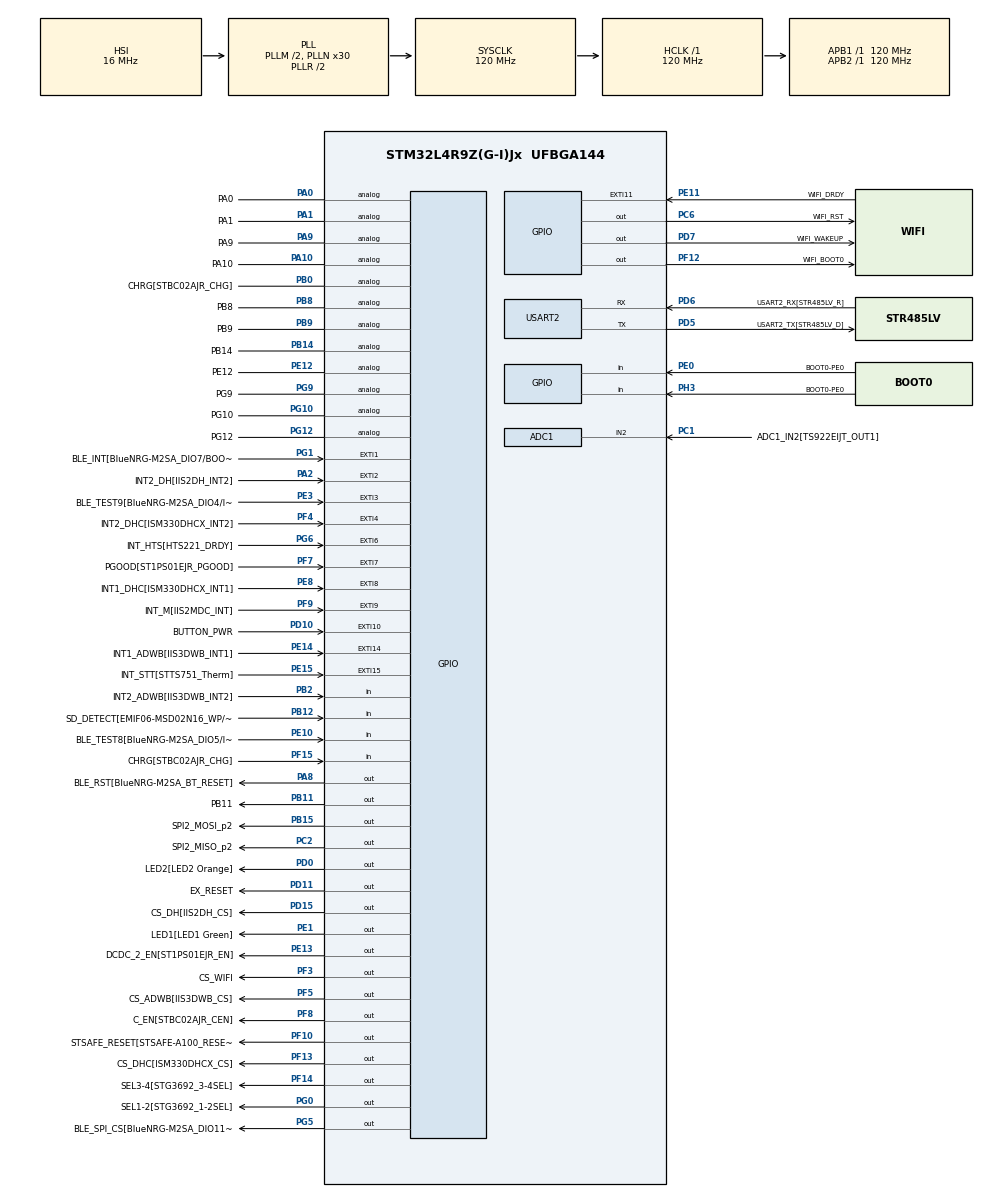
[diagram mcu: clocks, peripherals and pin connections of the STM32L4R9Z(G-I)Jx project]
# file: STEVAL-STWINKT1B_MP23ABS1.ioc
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ADC1.Channel-0\#ChannelRegularConversion=ADC_CHANNEL_2
ADC1.NbrOfConversionFlag=1
ADC1.OffsetNumber-0\#ChannelRegularConversion=ADC_OFFSET_NONE
ADC1.Overrun=ADC_OVR_DATA_OVERWRITTEN
ADC1.Rank-0\#ChannelRegularConversion=1
ADC1.SamplingTime-0\#ChannelRegularConversion=ADC_SAMPLETIME_2CYCLES_5
ADC1.master=1
Mcu.Family=STM32L4
Mcu.Name=STM32L4R9Z(G-I)Jx
Mcu.Package=UFBGA144
NVIC.PriorityGroup=NVIC_PRIORITYGROUP_4
PA0.GPIO_Label=PA0
PA0.Signal=GPIO_Analog
PA1.GPIO_Label=PA1
PA1.Signal=GPIO_Analog
PA10.GPIO_Label=PA10
PA10.Signal=GPIO_Analog
PA11.GPIO_Label=OTG_FS_DM[USBLC6-2P6_D2]
PA11.Signal=USB_OTG_FS_DM
PA12.GPIO_Label=OTG_FS_DP[USBLC6-2P6_D1]
PA12.Signal=USB_OTG_FS_DP
PA13\ (JTMS/SWDIO).GPIO_Label=SWDIO
PA13\ (JTMS/SWDIO).Signal=SYS_JTMS-SWDIO
PA14\ (JTCK/SWCLK).GPIO_Label=SWDCLK
PA14\ (JTCK/SWCLK).Signal=SYS_JTCK-SWCLK
PA15\ (JTDI).GPIO_Label=EX_PWM
PA15\ (JTDI).Signal=S_TIM2_CH1
PA2.GPIO_Label=INT2_DH[IIS2DH_INT2]
PA2.Signal=GPXTI2
PA4.GPIO_Label=DAC1_OUT1
PA4.Signal=COMP_DAC11_group
PA5.GPIO_Label=EX_ADC
PA5.Signal=ADCx_IN10
PA8.GPIO_Label=BLE_RST[BlueNRG-M2SA_BT_RESET]
PA8.Signal=GPIO_Output
PA9.GPIO_Label=PA9
PA9.Signal=GPIO_Analog
PB0.GPIO_Label=CHRG[STBC02AJR_CHG]
PB0.Signal=GPIO_Analog
PB1.GPIO_Label=USART3_RTS[STG3692_3S2]
PB1.Signal=USART3_RTS
PB10.GPIO_Label=DFSDM1_D7
PB10.GPIO_PuPd=GPIO_PULLDOWN
PB10.GPIO_Speed=GPIO_SPEED_FREQ_VERY_HIGH
PB10.Signal=S_DATAIN7DFSDM1
PB11.GPIO_Label=PB11
PB11.Signal=GPIO_Output
PB12.GPIO_Label=SD_DETECT[EMIF06-MSD02N16_WP/CD]
PB12.Signal=GPIO_Input
PB13.GPIO_Label=USART3_CTS
PB13.Signal=USART3_CTS
PB14.GPIO_Label=PB14
PB14.Signal=GPIO_Analog
PB15.GPIO_Label=SPI2_MOSI_p2
PB15.Signal=GPIO_Output
PB2.GPIO_Label=INT2_ADWB[IIS3DWB_INT2]
PB2.Signal=GPIO_Input
PB3\ (JTDO/TRACESWO).GPIO_Label=SPI3_CLK[SENSORS_SCL]
PB3\ (JTDO/TRACESWO).Signal=SPI3_SCK
PB4\ (NJTRST).GPIO_Label=SPI3_MISO[SENSORS_SDO]
PB4\ (NJTRST).Signal=SPI3_MISO
PB5.GPIO_Label=SPI3_MOSI[SENSORS_SDA]
PB5.Signal=SPI3_MOSI
PB6.GPIO_Label=DFSDM1_DATIN5[IMP34DT05_DOUT]
PB6.GPIO_PuPd=GPIO_PULLDOWN
PB6.GPIO_Speed=GPIO_SPEED_FREQ_VERY_HIGH
PB6.Signal=S_DATAIN5DFSDM1
PB8.GPIO_Label=PB8
PB8.Signal=GPIO_Analog
PB9.GPIO_Label=PB9
PB9.Signal=GPIO_Analog
PC0.GPIO_Label=ADC1_IN1[TS922EIJT_OUT2]
PC0.Signal=ADCx_IN1
PC1.GPIO_Label=ADC1_IN2[TS922EIJT_OUT1]
PC1.Signal=ADCx_IN2
PC10.GPIO_Label=SDMMC_D2[EMIF06-MSD02N16_DAT2_In]
PC10.Signal=SDMMC1_D2
PC11.GPIO_Label=SDMMC_D3[EMIF06-MSD02N16_DAT3_In]
PC11.Signal=SDMMC1_D3
PC12.GPIO_Label=SDMMC_CK[EMIF06-MSD02N16_CLK_In]
PC12.Signal=SDMMC1_CK
PC13.GPIO_Label=RTC_TAMP1
PC13.Signal=RTC_TAMP1
PC14-OSC32_IN\ (PC14).GPIO_Label=OSC32_IN
PC14-OSC32_IN\ (PC14).Signal=RCC_OSC32_IN
PC15-OSC32_OUT\ (PC15).GPIO_Label=OSC32_OUT
PC15-OSC32_OUT\ (PC15).Signal=RCC_OSC32_OUT
PC2.GPIO_Label=SPI2_MISO_p2
PC2.Signal=GPIO_Output
PC3.GPIO_Label=SPI2_MOSI[BlueNRG-M2SA_DIO3/SPI_MOSI]
PC3.Signal=SPI2_MOSI
PC4.GPIO_Label=uC_ADC_BATT[STBC02AJR_BATMS]
PC4.Signal=ADCx_IN13
PC5.GPIO_Label=PC5/WKUP5
PC5.Signal=SYS_WKUP5
PC6.GPIO_Label=WIFI_RST
PC6.Signal=GPIO_Output
PC8.GPIO_Label=SDMMC_D0[EMIF06-MSD02N16_DAT0_In]
PC8.Signal=SDMMC1_D0
PC9.GPIO_Label=SDMMC_D1[EMIF06-MSD02N16_DAT1_In]
PC9.Signal=SDMMC1_D1
PD0.GPIO_Label=LED2[LED2 Orange]
PD0.Signal=GPIO_Output
PD1.GPIO_Label=SPI2_CLK[BlueNRG-M2SA_DIO0/SPI_CLK]
PD1.Signal=SPI2_SCK
PD10.GPIO_Label=BUTTON_PWR
PD10.Signal=GPXTI10
PD11.GPIO_Label=EX_RESET 
PD11.Signal=GPIO_Output
PD12.GPIO_Label=I2C4_SCL
PD12.Signal=I2C4_SCL
PD13.GPIO_Label=I2C4_SDA
PD13.Signal=I2C4_SDA
PD15.GPIO_Label=CS_DH[IIS2DH_CS]
PD15.Signal=GPIO_Output
PD2.GPIO_Label=SDMMC_CMD[EMIF06-MSD02N16_CMD_In]
PD2.Signal=SDMMC1_CMD
PD3.GPIO_Label=SPI2_MISO[BlueNRG-M2SA_DIO2/SPI_MISO]
PD3.Signal=SPI2_MISO
PD4.GPIO_Label=USART2_RTS[STR485LV_DE]
PD4.Signal=USART2_RTS
PD5.GPIO_Label=USART2_TX[STR485LV_D]
PD5.Mode=Asynchronous
PD5.Signal=USART2_TX
PD6.GPIO_Label=USART2_RX[STR485LV_R]
PD6.Mode=Asynchronous
PD6.Signal=USART2_RX
PD7.GPIO_Label=WIFI_WAKEUP
PD7.Signal=GPIO_Output
PD8.GPIO_Label=USART3_TX[STG3692_1S1]
PD8.Signal=USART3_TX
PD9.GPIO_Label=USART3_RX[STG3692_2S1]
PD9.Signal=USART3_RX
PE0.GPIO_Label=BOOT0-PE0
PE0.Signal=GPIO_Input
PE1.GPIO_Label=LED1[LED1 Green]
PE1.Signal=GPIO_Output
PE10.GPIO_Label=BLE_TEST8[BlueNRG-M2SA_DIO5/I2C_SDA]
PE10.Signal=GPIO_Input
PE11.GPIO_Label=WIFI_DRDY
PE11.Signal=GPXTI11
PE12.GPIO_Label=PE12
PE12.Signal=GPIO_Analog
PE13.GPIO_Label=DCDC_2_EN[ST1PS01EJR_EN]
PE13.Signal=GPIO_Output
PE14.GPIO_Label=INT1_ADWB[IIS3DWB_INT1]
PE14.Signal=GPXTI14
PE15.GPIO_Label=INT_STT[STTS751_Therm]
PE15.Signal=GPXTI15
PE2.GPIO_Label=SAI1_MCLK_A
PE2.Signal=SAI1_MCLK_A
PE3.GPIO_Label=BLE_TEST9[BlueNRG-M2SA_DIO4/I2C_CLK]
PE3.Signal=GPXTI3
PE4.GPIO_Label=SAI1_FS_A/DFSDM_D3
PE4.Signal=SAI1_FS_A
PE5.GPIO_Label=SAI1_SCK_A
PE5.Signal=SAI1_SCK_A
PE6.GPIO_Label=SAI1_SD_A
PE6.Signal=SAI1_SD_A
PE7.GPIO_Label=SAI1_SD_B
PE7.Signal=SAI1_SD_B
PE8.GPIO_Label=INT1_DHC[ISM330DHCX_INT1]
PE8.Signal=GPXTI8
PE9.GPIO_Label=DFSDM1_CKOUT[IMP34DT05_CLK]
PE9.GPIO_PuPd=GPIO_PULLDOWN
PE9.GPIO_Speed=GPIO_SPEED_FREQ_VERY_HIGH
PE9.Signal=S_CKOUTDFSDM1
PF0.GPIO_Label=I2C2_SDA[SENSORS_SDA]
PF0.Signal=I2C2_SDA
PF1.GPIO_Label=I2C2_SDA[SENSORS_SCL]
PF1.Signal=I2C2_SCL
PF10.GPIO_Label=STSAFE_RESET[STSAFE-A100_RESET]
PF10.Signal=GPIO_Output
PF12.GPIO_Label=WIFI_BOOT0
PF12.Signal=GPIO_Output
PF13.GPIO_Label=CS_DHC[ISM330DHCX_CS]
PF13.Signal=GPIO_Output
PF14.GPIO_Label=SEL3-4[STG3692_3-4SEL]
PF14.Signal=GPIO_Output
PF15.GPIO_Label=CHRG[STBC02AJR_CHG]
PF15.Signal=GPIO_Input
PF2.GPIO_Label=I2C2_SMBA[STTS751_EV]
PF2.Signal=I2C2_SMBA
PF3.GPIO_Label=CS_WIFI
PF3.Signal=GPIO_Output
PF4.GPIO_Label=INT2_DHC[ISM330DHCX_INT2]
PF4.Signal=GPXTI4
PF5.GPIO_Label=CS_ADWB[IIS3DWB_CS]
PF5.Signal=GPIO_Output
PF6.GPIO_Label=SW_SEL[STBC02AJR_SW_SEL]
PF6.GPIO_Speed=GPIO_SPEED_FREQ_HIGH
PF6.Signal=S_TIM5_CH1
PF7.GPIO_Label=PGOOD[ST1PS01EJR_PGOOD]
PF7.Signal=GPXTI7
PF8.GPIO_Label=C_EN[STBC02AJR_CEN]
PF8.Signal=GPIO_Output
PF9.GPIO_Label=INT_M[IIS2MDC_INT]
PF9.Signal=GPXTI9
PG0.GPIO_Label=SEL1-2[STG3692_1-2SEL]
PG0.Signal=GPIO_Output
PG1.GPIO_Label=BLE_INT[BlueNRG-M2SA_DIO7/BOOT/UART_CTS]
PG1.Signal=GPXTI1
PG10.GPIO_Label=PG10
PG10.Signal=GPIO_Analog
PG12.GPIO_Label=PG12
PG12.Signal=GPIO_Analog
PG2.GPIO_Label=SPI1_CLK
PG2.Signal=SPI1_SCK
PG3.GPIO_Label=SPI1_MISO
PG3.Signal=SPI1_MISO
PG4.GPIO_Label=SPI1_MOSI
PG4.Signal=SPI1_MOSI
PG5.GPIO_Label=BLE_SPI_CS[BlueNRG-M2SA_DIO11/UART_RXD]
PG5.Signal=GPIO_Output
PG6.GPIO_Label=INT_HTS[HTS221_DRDY]
PG6.Signal=GPXTI6
PG7.GPIO_Label=I2C3_SCL[STSAFE-A110_SCL]
PG7.Signal=I2C3_SCL
PG8.GPIO_Label=I2C3_SDA[STSAFE-A110_SDA]
PG8.Signal=I2C3_SDA
PG9.GPIO_Label=PG9
PG9.Signal=GPIO_Analog
PH0-OSC_IN\ (PH0).GPIO_Label=OSC_IN
PH0-OSC_IN\ (PH0).Signal=RCC_OSC_IN
PH1-OSC_OUT\ (PH1).GPIO_Label=OSC_OUT
PH1-OSC_OUT\ (PH1).Signal=RCC_OSC_OUT
PH3-BOOT0.GPIO_Label=BOOT0-PE0
PH3-BOOT0.Signal=GPIO_Input
ProjectManager.HeapSize=0x200
ProjectManager.StackSize=0x400
ProjectManager.TargetToolchain=Makefile
RCC.ADCCLockSelection=RCC_ADCCLKSOURCE_SYSCLK
RCC.ADCFreq_Value=120000000
RCC.AHBFreq_Value=120000000
RCC.APB1Freq_Value=120000000
RCC.APB1TimFreq_Value=120000000
RCC.APB2Freq_Value=120000000
RCC.APB2TimFreq_Value=120000000
RCC.CK48CLockSelection=RCC_USBCLKSOURCE_HSI48
RCC.CortexFreq_Value=120000000
RCC.DSITX_Div=1
RCC.HCLKFreq_Value=120000000
RCC.HSE_VALUE=16000000
RCC.HSI48_VALUE=48000000
RCC.HSI_VALUE=16000000
RCC.LSE_VALUE=32768
RCC.MSI_VALUE=4000000
RCC.PLLDSIODF=DSI_PLL_OUT_DIV2
RCC.PLLM1=2
RCC.PLLM2=5
RCC.PLLM3=2
RCC.PLLN=30
RCC.PLLSAI1N=96
RCC.PLLSAI1P=RCC_PLLP_DIV25
RCC.PLLSAI1Q=RCC_PLLQ_DIV4
RCC.PLLSAI1R=RCC_PLLR_DIV4
RCC.PLLSourceVirtual=RCC_PLLSOURCE_HSI
RCC.RTCClockSelection=RCC_RTCCLKSOURCE_LSE
RCC.SDMMCClockSelection=RCC_SDIOCLKSOURCE_CLK48
RCC.SYSCLKFreq_VALUE=120000000
RCC.SYSCLKSource=RCC_SYSCLKSOURCE_PLLCLK
RCC.USBFreq_Value=48000000
RCC.VCOOutputFreq_Value=240000000
SH.ADCx_IN1.0=ADC1_IN1
SH.ADCx_IN10.0=ADC1_IN10
SH.ADCx_IN13.0=ADC1_IN13
SH.ADCx_IN2.0=ADC1_IN2,IN2-Single-Ended
SH.COMP_DAC11_group.0=DAC1_OUT1
SH.S_CKOUTDFSDM1.0=DFSDM1_CKOUT
SH.S_DATAIN5DFSDM1.0=DFSDM1_DATIN5
SH.S_DATAIN7DFSDM1.0=DFSDM1_DATIN7
SH.S_TIM2_CH1.0=TIM2_CH1
SH.S_TIM5_CH1.0=TIM5_CH1
TIM2.Prescaler=120 - 1
USART2.VirtualMode-Asynchronous=VM_ASYNC
VP_TIM2_VS_ClockSourceINT.Mode=Internal
board=STEVAL-STWINKT1B

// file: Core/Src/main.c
/* USER CODE BEGIN Header */
/**
  ******************************************************************************
  * @file           : main.c
  * @brief          : Main program body
  ******************************************************************************
  * @attention
  *
  * Copyright (c) 2022 STMicroelectronics.
  * All rights reserved.
  *
  * This software is licensed under terms that can be found in the LICENSE file
  * in the root directory of this software component.
  * If no LICENSE file comes with this software, it is provided AS-IS.
  *
  ******************************************************************************
  */
/* USER CODE END Header */
#include "main.h"

/* USER CODE BEGIN Includes */
#include <string.h>
#include <stdio.h>
#include "cycle_dwt.h"
#include "NanoEdgeAI.h"

/* USER CODE END Includes */

/* USER CODE BEGIN PD */
/************************************************************ NEAI algorithm defines begin ************************************************************/
/************************************************************ Global settings part ************************************************************/
#ifndef SAMPLES
  #define SAMPLES           4096    /* Should be between 16 & 4096 */
#endif
#ifndef MICROPHONE_ODR
  #define MICROPHONE_ODR    44100   /* Should be between 1 & 100 kHz, 44100 Hz is WAV audio format standard frequency */
#endif
/************************************************************ Datalogger / NEAI mode part ************************************************************/
#ifndef NEAI_MODE
  #define NEAI_MODE         0       /* 0: Datalogger mode, 1: NEAI functions mode */
#endif
#if (NEAI_MODE == 1)
  #ifndef NEAI_LEARN_NB
    #define NEAI_LEARN_NB   100     /* Number of buffers to be learn by the NEAI library */
  #endif
#endif
/************************************************************ NEAI algorithm defines end ************************************************************/
/* USER CODE END PD */

ADC_HandleTypeDef hadc1;

TIM_HandleTypeDef htim2;

UART_HandleTypeDef huart2;

/* USER CODE BEGIN PV */
uint8_t neai_similarity = 0, neai_state = 0;
uint16_t neai_cnt = 0;
float odr_timer = 0.0, time_cycles = 0.0;
float neai_time = 0.0;
float neai_buffer[SAMPLES] = {0.0};

/* USER CODE END PV */

void SystemClock_Config(void);
static void MX_GPIO_Init(void);
static void MX_ADC1_Init(void);
static void MX_TIM2_Init(void);
static void MX_USART2_UART_Init(void);
/* USER CODE BEGIN PFP */
static void NEAI_Delay_us (uint32_t us);
static void get_microphone_data(void);

/* USER CODE END PFP */

int main(void)
{

  /* MCU Configuration--------------------------------------------------------*/

  /* Reset of all peripherals, Initializes the Flash interface and the Systick. */
  HAL_Init();

  /* Configure the system clock */
  SystemClock_Config();

  /* Initialize all configured peripherals */
  MX_GPIO_Init();
  MX_ADC1_Init();
  MX_TIM2_Init();
  MX_USART2_UART_Init();
  /* USER CODE BEGIN 2 */
  KIN1_InitCycleCounter();
  KIN1_EnableCycleCounter();

  /* Start ADC calibration before using it */
  HAL_ADCEx_Calibration_Start(&hadc1, ADC_SINGLE_ENDED);

  /* Get a dummy value to avoid bad value in the first buffer */
  HAL_ADC_Start(&hadc1);
  HAL_ADC_PollForConversion(&hadc1, 0);
  HAL_ADC_GetValue(&hadc1);
  HAL_Delay(100);

  /* Start our µs timer */
  HAL_TIM_Base_Start(&htim2);

  /* Get the time to wait between each samples in µs
   * We know that an ADC operation takes about 6 ms = 720 cycles
   * so we subtract it from the time to wait between each sample
   */
  odr_timer = 1000000.0 / MICROPHONE_ODR;
  odr_timer = (odr_timer >= 6) ? odr_timer - 6 : odr_timer;

  if (NEAI_MODE) {
    neai_state = neai_anomalydetection_init();
    printf("Initialize NEAI library. NEAI init return: %d.\n",  neai_state);
  }

  /* USER CODE END 2 */

  /* Infinite loop */
  /* USER CODE BEGIN WHILE */
  while (1)
  {
    get_microphone_data();
#if NEAI_MODE
    uint32_t cycles_cnt = 0;
    if (neai_cnt < NEAI_LEARN_NB) {
      neai_cnt++;
      KIN1_ResetCycleCounter();
      neai_state = neai_anomalydetection_learn(neai_buffer);
      cycles_cnt = KIN1_GetCycleCounter();
      neai_time = (cycles_cnt * 1000000.0) / HAL_RCC_GetSysClockFreq();
      printf("Learn: %d / %d. NEAI learn return: %d. Cycles counter: %ld = %.1f µs at %ld Hz.\n",
            neai_cnt, NEAI_LEARN_NB, neai_state, cycles_cnt, neai_time, HAL_RCC_GetSysClockFreq());
    }
    else {
      KIN1_ResetCycleCounter();
      neai_state = neai_anomalydetection_detect(neai_buffer, &neai_similarity);
      cycles_cnt = KIN1_GetCycleCounter();
      neai_time = (cycles_cnt * 1000000.0) / HAL_RCC_GetSysClockFreq();
      printf("Similarity: %d / 100. NEAI detect return: %d. Cycles counter: %ld = %.1f µs at %ld Hz.\n",
            neai_similarity, neai_state, cycles_cnt, neai_time, HAL_RCC_GetSysClockFreq());
    }
#else
    for (uint16_t i = 0; i < SAMPLES; i++) {
      printf("%.3f ", neai_buffer[i]);
    }
    printf("\n");
#endif
    /* Clean neai buffer */
    memset(neai_buffer, 0x00, SAMPLES * sizeof(float));
    /* USER CODE END WHILE */

  }
}

void SystemClock_Config(void)
{
  RCC_OscInitTypeDef RCC_OscInitStruct = {0};
  RCC_ClkInitTypeDef RCC_ClkInitStruct = {0};

  /** Configure the main internal regulator output voltage
  */
  if (HAL_PWREx_ControlVoltageScaling(PWR_REGULATOR_VOLTAGE_SCALE1_BOOST) != HAL_OK)
  {
    Error_Handler();
  }

  /** Initializes the RCC Oscillators according to the specified parameters
  * in the RCC_OscInitTypeDef structure.
  */
  RCC_OscInitStruct.OscillatorType = RCC_OSCILLATORTYPE_HSI;
  RCC_OscInitStruct.HSIState = RCC_HSI_ON;
  RCC_OscInitStruct.HSICalibrationValue = RCC_HSICALIBRATION_DEFAULT;
  RCC_OscInitStruct.PLL.PLLState = RCC_PLL_ON;
  RCC_OscInitStruct.PLL.PLLSource = RCC_PLLSOURCE_HSI;
  RCC_OscInitStruct.PLL.PLLM = 2;
  RCC_OscInitStruct.PLL.PLLN = 30;
  RCC_OscInitStruct.PLL.PLLP = RCC_PLLP_DIV2;
  RCC_OscInitStruct.PLL.PLLQ = RCC_PLLQ_DIV2;
  RCC_OscInitStruct.PLL.PLLR = RCC_PLLR_DIV2;
  if (HAL_RCC_OscConfig(&RCC_OscInitStruct) != HAL_OK)
  {
    Error_Handler();
  }

  /** Initializes the CPU, AHB and APB buses clocks
  */
  RCC_ClkInitStruct.ClockType = RCC_CLOCKTYPE_HCLK|RCC_CLOCKTYPE_SYSCLK
                              |RCC_CLOCKTYPE_PCLK1|RCC_CLOCKTYPE_PCLK2;
  RCC_ClkInitStruct.SYSCLKSource = RCC_SYSCLKSOURCE_PLLCLK;
  RCC_ClkInitStruct.AHBCLKDivider = RCC_SYSCLK_DIV1;
  RCC_ClkInitStruct.APB1CLKDivider = RCC_HCLK_DIV1;
  RCC_ClkInitStruct.APB2CLKDivider = RCC_HCLK_DIV1;

  if (HAL_RCC_ClockConfig(&RCC_ClkInitStruct, FLASH_LATENCY_5) != HAL_OK)
  {
    Error_Handler();
  }
}

static void MX_ADC1_Init(void)
{

  ADC_ChannelConfTypeDef sConfig = {0};

  /** Common config
  */
  hadc1.Instance = ADC1;
  hadc1.Init.ClockPrescaler = ADC_CLOCK_ASYNC_DIV2;
  hadc1.Init.Resolution = ADC_RESOLUTION_12B;
  hadc1.Init.DataAlign = ADC_DATAALIGN_RIGHT;
  hadc1.Init.ScanConvMode = ADC_SCAN_DISABLE;
  hadc1.Init.EOCSelection = ADC_EOC_SINGLE_CONV;
  hadc1.Init.LowPowerAutoWait = DISABLE;
  hadc1.Init.ContinuousConvMode = DISABLE;
  hadc1.Init.NbrOfConversion = 1;
  hadc1.Init.DiscontinuousConvMode = DISABLE;
  hadc1.Init.ExternalTrigConv = ADC_SOFTWARE_START;
  hadc1.Init.ExternalTrigConvEdge = ADC_EXTERNALTRIGCONVEDGE_NONE;
  hadc1.Init.DMAContinuousRequests = DISABLE;
  hadc1.Init.Overrun = ADC_OVR_DATA_OVERWRITTEN;
  hadc1.Init.OversamplingMode = DISABLE;
  if (HAL_ADC_Init(&hadc1) != HAL_OK)
  {
    Error_Handler();
  }

  /** Configure Regular Channel
  */
  sConfig.Channel = ADC_CHANNEL_2;
  sConfig.Rank = ADC_REGULAR_RANK_1;
  sConfig.SamplingTime = ADC_SAMPLETIME_2CYCLES_5;
  sConfig.SingleDiff = ADC_SINGLE_ENDED;
  sConfig.OffsetNumber = ADC_OFFSET_NONE;
  sConfig.Offset = 0;
  if (HAL_ADC_ConfigChannel(&hadc1, &sConfig) != HAL_OK)
  {
    Error_Handler();
  }

}

static void MX_TIM2_Init(void)
{

  TIM_ClockConfigTypeDef sClockSourceConfig = {0};
  TIM_MasterConfigTypeDef sMasterConfig = {0};

  htim2.Instance = TIM2;
  htim2.Init.Prescaler = 120 - 1;
  htim2.Init.CounterMode = TIM_COUNTERMODE_UP;
  htim2.Init.Period = 4294967295;
  htim2.Init.ClockDivision = TIM_CLOCKDIVISION_DIV1;
  htim2.Init.AutoReloadPreload = TIM_AUTORELOAD_PRELOAD_DISABLE;
  if (HAL_TIM_Base_Init(&htim2) != HAL_OK)
  {
    Error_Handler();
  }
  sClockSourceConfig.ClockSource = TIM_CLOCKSOURCE_INTERNAL;
  if (HAL_TIM_ConfigClockSource(&htim2, &sClockSourceConfig) != HAL_OK)
  {
    Error_Handler();
  }
  sMasterConfig.MasterOutputTrigger = TIM_TRGO_RESET;
  sMasterConfig.MasterSlaveMode = TIM_MASTERSLAVEMODE_DISABLE;
  if (HAL_TIMEx_MasterConfigSynchronization(&htim2, &sMasterConfig) != HAL_OK)
  {
    Error_Handler();
  }

}

static void MX_USART2_UART_Init(void)
{

  huart2.Instance = USART2;
  huart2.Init.BaudRate = 115200;
  huart2.Init.WordLength = UART_WORDLENGTH_8B;
  huart2.Init.StopBits = UART_STOPBITS_1;
  huart2.Init.Parity = UART_PARITY_NONE;
  huart2.Init.Mode = UART_MODE_TX_RX;
  huart2.Init.HwFlowCtl = UART_HWCONTROL_NONE;
  huart2.Init.OverSampling = UART_OVERSAMPLING_16;
  huart2.Init.OneBitSampling = UART_ONE_BIT_SAMPLE_DISABLE;
  huart2.Init.ClockPrescaler = UART_PRESCALER_DIV1;
  huart2.AdvancedInit.AdvFeatureInit = UART_ADVFEATURE_NO_INIT;
  if (HAL_UART_Init(&huart2) != HAL_OK)
  {
    Error_Handler();
  }
  if (HAL_UARTEx_SetTxFifoThreshold(&huart2, UART_TXFIFO_THRESHOLD_1_8) != HAL_OK)
  {
    Error_Handler();
  }
  if (HAL_UARTEx_SetRxFifoThreshold(&huart2, UART_RXFIFO_THRESHOLD_1_8) != HAL_OK)
  {
    Error_Handler();
  }
  if (HAL_UARTEx_DisableFifoMode(&huart2) != HAL_OK)
  {
    Error_Handler();
  }

}

static void MX_GPIO_Init(void)
{
  GPIO_InitTypeDef GPIO_InitStruct = {0};

  /* GPIO Ports Clock Enable */
  __HAL_RCC_GPIOE_CLK_ENABLE();
  __HAL_RCC_GPIOB_CLK_ENABLE();
  __HAL_RCC_GPIOH_CLK_ENABLE();
  __HAL_RCC_GPIOD_CLK_ENABLE();
  __HAL_RCC_GPIOC_CLK_ENABLE();
  __HAL_RCC_GPIOA_CLK_ENABLE();
  __HAL_RCC_GPIOG_CLK_ENABLE();
  HAL_PWREx_EnableVddIO2();
  __HAL_RCC_GPIOF_CLK_ENABLE();

  /*Configure GPIO pin Output Level */
  HAL_GPIO_WritePin(GPIOE, LED1_Pin|DCDC_2_EN_Pin, GPIO_PIN_RESET);

  /*Configure GPIO pin Output Level */
  HAL_GPIO_WritePin(GPIOD, LED2_Pin|WIFI_WAKEUP_Pin|CS_DH_Pin|EX_RESET_Pin, GPIO_PIN_RESET);

  /*Configure GPIO pin Output Level */
  HAL_GPIO_WritePin(BLE_RST_GPIO_Port, BLE_RST_Pin, GPIO_PIN_RESET);

  /*Configure GPIO pin Output Level */
  HAL_GPIO_WritePin(GPIOC, WIFI_RST_Pin|SPI2_MISO_p2_Pin, GPIO_PIN_RESET);

  /*Configure GPIO pin Output Level */
  HAL_GPIO_WritePin(GPIOF, CS_WIFI_Pin|C_EN_Pin|CS_ADWB_Pin|STSAFE_RESET_Pin
                          |WIFI_BOOT0_Pin|CS_DHC_Pin|SEL3_4_Pin, GPIO_PIN_RESET);

  /*Configure GPIO pin Output Level */
  HAL_GPIO_WritePin(GPIOG, BLE_SPI_CS_Pin|SEL1_2_Pin, GPIO_PIN_RESET);

  /*Configure GPIO pin Output Level */
  HAL_GPIO_WritePin(GPIOB, SPI2_MOSI_p2_Pin|PB11_Pin, GPIO_PIN_RESET);

  /*Configure GPIO pins : BOOT0_PE0_Pin BLE_TEST8_Pin */
  GPIO_InitStruct.Pin = BOOT0_PE0_Pin|BLE_TEST8_Pin;
  GPIO_InitStruct.Mode = GPIO_MODE_INPUT;
  GPIO_InitStruct.Pull = GPIO_NOPULL;
  HAL_GPIO_Init(GPIOE, &GPIO_InitStruct);

  /*Configure GPIO pins : PB9_Pin PB8_Pin PB14_Pin CHRGB0_Pin */
  GPIO_InitStruct.Pin = PB9_Pin|PB8_Pin|PB14_Pin|CHRGB0_Pin;
  GPIO_InitStruct.Mode = GPIO_MODE_ANALOG;
  GPIO_InitStruct.Pull = GPIO_NOPULL;
  HAL_GPIO_Init(GPIOB, &GPIO_InitStruct);

  /*Configure GPIO pin : BOOT0_PE0H3_Pin */
  GPIO_InitStruct.Pin = BOOT0_PE0H3_Pin;
  GPIO_InitStruct.Mode = GPIO_MODE_INPUT;
  GPIO_InitStruct.Pull = GPIO_NOPULL;
  HAL_GPIO_Init(BOOT0_PE0H3_GPIO_Port, &GPIO_InitStruct);

  /*Configure GPIO pins : SPI3_MISO_Pin SPI3_MOSI_Pin SPI3_CLK_Pin */
  GPIO_InitStruct.Pin = SPI3_MISO_Pin|SPI3_MOSI_Pin|SPI3_CLK_Pin;
  GPIO_InitStruct.Mode = GPIO_MODE_AF_PP;
  GPIO_InitStruct.Pull = GPIO_NOPULL;
  GPIO_InitStruct.Speed = GPIO_SPEED_FREQ_VERY_HIGH;
  GPIO_InitStruct.Alternate = GPIO_AF6_SPI3;
  HAL_GPIO_Init(GPIOB, &GPIO_InitStruct);

  /*Configure GPIO pins : SPI2_MISO_Pin SPI2_CLK_Pin */
  GPIO_InitStruct.Pin = SPI2_MISO_Pin|SPI2_CLK_Pin;
  GPIO_InitStruct.Mode = GPIO_MODE_AF_PP;
  GPIO_InitStruct.Pull = GPIO_NOPULL;
  GPIO_InitStruct.Speed = GPIO_SPEED_FREQ_VERY_HIGH;
  GPIO_InitStruct.Alternate = GPIO_AF5_SPI2;
  HAL_GPIO_Init(GPIOD, &GPIO_InitStruct);

  /*Configure GPIO pins : SDMMC_D3_Pin SDMMC_D2_Pin SDMMC_D1_Pin SDMMC_CK_Pin
                           SDMMC_D0_Pin */
  GPIO_InitStruct.Pin = SDMMC_D3_Pin|SDMMC_D2_Pin|SDMMC_D1_Pin|SDMMC_CK_Pin
                          |SDMMC_D0_Pin;
  GPIO_InitStruct.Mode = GPIO_MODE_AF_PP;
  GPIO_InitStruct.Pull = GPIO_NOPULL;
  GPIO_InitStruct.Speed = GPIO_SPEED_FREQ_VERY_HIGH;
  GPIO_InitStruct.Alternate = GPIO_AF12_SDMMC1;
  HAL_GPIO_Init(GPIOC, &GPIO_InitStruct);

  /*Configure GPIO pins : BLE_TEST9_Pin WIFI_DRDY_Pin INT1_DHC_Pin INT_STT_Pin
                           INT1_ADWB_Pin */
  GPIO_InitStruct.Pin = BLE_TEST9_Pin|WIFI_DRDY_Pin|INT1_DHC_Pin|INT_STT_Pin
                          |INT1_ADWB_Pin;
  GPIO_InitStruct.Mode = GPIO_MODE_IT_RISING;
  GPIO_InitStruct.Pull = GPIO_NOPULL;
  HAL_GPIO_Init(GPIOE, &GPIO_InitStruct);

  /*Configure GPIO pins : OTG_FS_DP_Pin OTG_FS_DM_Pin */
  GPIO_InitStruct.Pin = OTG_FS_DP_Pin|OTG_FS_DM_Pin;
  GPIO_InitStruct.Mode = GPIO_MODE_AF_PP;
  GPIO_InitStruct.Pull = GPIO_NOPULL;
  GPIO_InitStruct.Speed = GPIO_SPEED_FREQ_VERY_HIGH;
  GPIO_InitStruct.Alternate = GPIO_AF10_OTG_FS;
  HAL_GPIO_Init(GPIOA, &GPIO_InitStruct);

  /*Configure GPIO pins : SAI1_SCK_A_Pin SAI1_MCLK_A_Pin SAI1_FS_A_DFSDM_D3_Pin SAI1_SD_A_Pin
                           SAI1_SD_B_Pin */
  GPIO_InitStruct.Pin = SAI1_SCK_A_Pin|SAI1_MCLK_A_Pin|SAI1_FS_A_DFSDM_D3_Pin|SAI1_SD_A_Pin
                          |SAI1_SD_B_Pin;
  GPIO_InitStruct.Mode = GPIO_MODE_AF_PP;
  GPIO_InitStruct.Pull = GPIO_NOPULL;
  GPIO_InitStruct.Speed = GPIO_SPEED_FREQ_LOW;
  GPIO_InitStruct.Alternate = GPIO_AF13_SAI1;
  HAL_GPIO_Init(GPIOE, &GPIO_InitStruct);

  /*Configure GPIO pins : LED1_Pin DCDC_2_EN_Pin */
  GPIO_InitStruct.Pin = LED1_Pin|DCDC_2_EN_Pin;
  GPIO_InitStruct.Mode = GPIO_MODE_OUTPUT_PP;
  GPIO_InitStruct.Pull = GPIO_NOPULL;
  GPIO_InitStruct.Speed = GPIO_SPEED_FREQ_LOW;
  HAL_GPIO_Init(GPIOE, &GPIO_InitStruct);

  /*Configure GPIO pins : LED2_Pin WIFI_WAKEUP_Pin CS_DH_Pin EX_RESET_Pin */
  GPIO_InitStruct.Pin = LED2_Pin|WIFI_WAKEUP_Pin|CS_DH_Pin|EX_RESET_Pin;
  GPIO_InitStruct.Mode = GPIO_MODE_OUTPUT_PP;
  GPIO_InitStruct.Pull = GPIO_NOPULL;
  GPIO_InitStruct.Speed = GPIO_SPEED_FREQ_LOW;
  HAL_GPIO_Init(GPIOD, &GPIO_InitStruct);

  /*Configure GPIO pins : PA10_Pin PA9_Pin PA0_Pin DAC1_OUT1_Pin
                           PA1_Pin */
  GPIO_InitStruct.Pin = PA10_Pin|PA9_Pin|PA0_Pin|DAC1_OUT1_Pin
                          |PA1_Pin;
  GPIO_InitStruct.Mode = GPIO_MODE_ANALOG;
  GPIO_InitStruct.Pull = GPIO_NOPULL;
  HAL_GPIO_Init(GPIOA, &GPIO_InitStruct);

  /*Configure GPIO pins : DFSDM1_DATIN5_Pin DFSDM1_D7_Pin */
  GPIO_InitStruct.Pin = DFSDM1_DATIN5_Pin|DFSDM1_D7_Pin;
  GPIO_InitStruct.Mode = GPIO_MODE_AF_PP;
  GPIO_InitStruct.Pull = GPIO_PULLDOWN;
  GPIO_InitStruct.Speed = GPIO_SPEED_FREQ_VERY_HIGH;
  GPIO_InitStruct.Alternate = GPIO_AF6_DFSDM1;
  HAL_GPIO_Init(GPIOB, &GPIO_InitStruct);

  /*Configure GPIO pins : PG12_Pin PG10_Pin PG9_Pin */
  GPIO_InitStruct.Pin = PG12_Pin|PG10_Pin|PG9_Pin;
  GPIO_InitStruct.Mode = GPIO_MODE_ANALOG;
  GPIO_InitStruct.Pull = GPIO_NOPULL;
  HAL_GPIO_Init(GPIOG, &GPIO_InitStruct);

  /*Configure GPIO pin : SDMMC_CMD_Pin */
  GPIO_InitStruct.Pin = SDMMC_CMD_Pin;
  GPIO_InitStruct.Mode = GPIO_MODE_AF_PP;
  GPIO_InitStruct.Pull = GPIO_NOPULL;
  GPIO_InitStruct.Speed = GPIO_SPEED_FREQ_VERY_HIGH;
  GPIO_InitStruct.Alternate = GPIO_AF12_SDMMC1;
  HAL_GPIO_Init(SDMMC_CMD_GPIO_Port, &GPIO_InitStruct);

  /*Configure GPIO pin : BLE_RST_Pin */
  GPIO_InitStruct.Pin = BLE_RST_Pin;
  GPIO_InitStruct.Mode = GPIO_MODE_OUTPUT_PP;
  GPIO_InitStruct.Pull = GPIO_NOPULL;
  GPIO_InitStruct.Speed = GPIO_SPEED_FREQ_LOW;
  HAL_GPIO_Init(BLE_RST_GPIO_Port, &GPIO_InitStruct);

  /*Configure GPIO pins : WIFI_RST_Pin SPI2_MISO_p2_Pin */
  GPIO_InitStruct.Pin = WIFI_RST_Pin|SPI2_MISO_p2_Pin;
  GPIO_InitStruct.Mode = GPIO_MODE_OUTPUT_PP;
  GPIO_InitStruct.Pull = GPIO_NOPULL;
  GPIO_InitStruct.Speed = GPIO_SPEED_FREQ_LOW;
  HAL_GPIO_Init(GPIOC, &GPIO_InitStruct);

  /*Configure GPIO pins : I2C2_SMBA_Pin I2C2_SDA_Pin I2C2_SDAF0_Pin */
  GPIO_InitStruct.Pin = I2C2_SMBA_Pin|I2C2_SDA_Pin|I2C2_SDAF0_Pin;
  GPIO_InitStruct.Mode = GPIO_MODE_AF_OD;
  GPIO_InitStruct.Pull = GPIO_NOPULL;
  GPIO_InitStruct.Speed = GPIO_SPEED_FREQ_VERY_HIGH;
  GPIO_InitStruct.Alternate = GPIO_AF4_I2C2;
  HAL_GPIO_Init(GPIOF, &GPIO_InitStruct);

  /*Configure GPIO pins : CS_WIFI_Pin C_EN_Pin CS_ADWB_Pin STSAFE_RESET_Pin
                           WIFI_BOOT0_Pin CS_DHC_Pin SEL3_4_Pin */
  GPIO_InitStruct.Pin = CS_WIFI_Pin|C_EN_Pin|CS_ADWB_Pin|STSAFE_RESET_Pin
                          |WIFI_BOOT0_Pin|CS_DHC_Pin|SEL3_4_Pin;
  GPIO_InitStruct.Mode = GPIO_MODE_OUTPUT_PP;
  GPIO_InitStruct.Pull = GPIO_NOPULL;
  GPIO_InitStruct.Speed = GPIO_SPEED_FREQ_LOW;
  HAL_GPIO_Init(GPIOF, &GPIO_InitStruct);

  /*Configure GPIO pins : I2C3_SDA_Pin I2C3_SCL_Pin */
  GPIO_InitStruct.Pin = I2C3_SDA_Pin|I2C3_SCL_Pin;
  GPIO_InitStruct.Mode = GPIO_MODE_AF_OD;
  GPIO_InitStruct.Pull = GPIO_NOPULL;
  GPIO_InitStruct.Speed = GPIO_SPEED_FREQ_VERY_HIGH;
  GPIO_InitStruct.Alternate = GPIO_AF4_I2C3;
  HAL_GPIO_Init(GPIOG, &GPIO_InitStruct);

  /*Configure GPIO pin : SW_SEL_Pin */
  GPIO_InitStruct.Pin = SW_SEL_Pin;
  GPIO_InitStruct.Mode = GPIO_MODE_AF_PP;
  GPIO_InitStruct.Pull = GPIO_NOPULL;
  GPIO_InitStruct.Speed = GPIO_SPEED_FREQ_HIGH;
  GPIO_InitStruct.Alternate = GPIO_AF2_TIM5;
  HAL_GPIO_Init(SW_SEL_GPIO_Port, &GPIO_InitStruct);

  /*Configure GPIO pins : INT2_DHC_Pin PGOOD_Pin INT_M_Pin */
  GPIO_InitStruct.Pin = INT2_DHC_Pin|PGOOD_Pin|INT_M_Pin;
  GPIO_InitStruct.Mode = GPIO_MODE_IT_RISING;
  GPIO_InitStruct.Pull = GPIO_NOPULL;
  HAL_GPIO_Init(GPIOF, &GPIO_InitStruct);

  /*Configure GPIO pins : SPI1_MISO_Pin SPI1_MOSI_Pin SPI1_CLK_Pin */
  GPIO_InitStruct.Pin = SPI1_MISO_Pin|SPI1_MOSI_Pin|SPI1_CLK_Pin;
  GPIO_InitStruct.Mode = GPIO_MODE_AF_PP;
  GPIO_InitStruct.Pull = GPIO_NOPULL;
  GPIO_InitStruct.Speed = GPIO_SPEED_FREQ_VERY_HIGH;
  GPIO_InitStruct.Alternate = GPIO_AF5_SPI1;
  HAL_GPIO_Init(GPIOG, &GPIO_InitStruct);

  /*Configure GPIO pins : BLE_SPI_CS_Pin SEL1_2_Pin */
  GPIO_InitStruct.Pin = BLE_SPI_CS_Pin|SEL1_2_Pin;
  GPIO_InitStruct.Mode = GPIO_MODE_OUTPUT_PP;
  GPIO_InitStruct.Pull = GPIO_NOPULL;
  GPIO_InitStruct.Speed = GPIO_SPEED_FREQ_LOW;
  HAL_GPIO_Init(GPIOG, &GPIO_InitStruct);

  /*Configure GPIO pins : INT_HTS_Pin BLE_INT_Pin */
  GPIO_InitStruct.Pin = INT_HTS_Pin|BLE_INT_Pin;
  GPIO_InitStruct.Mode = GPIO_MODE_IT_RISING;
  GPIO_InitStruct.Pull = GPIO_NOPULL;
  HAL_GPIO_Init(GPIOG, &GPIO_InitStruct);

  /*Configure GPIO pins : I2C4_SCL_Pin I2C4_SDA_Pin */
  GPIO_InitStruct.Pin = I2C4_SCL_Pin|I2C4_SDA_Pin;
  GPIO_InitStruct.Mode = GPIO_MODE_AF_OD;
  GPIO_InitStruct.Pull = GPIO_NOPULL;
  GPIO_InitStruct.Speed = GPIO_SPEED_FREQ_VERY_HIGH;
  GPIO_InitStruct.Alternate = GPIO_AF4_I2C4;
  HAL_GPIO_Init(GPIOD, &GPIO_InitStruct);

  /*Configure GPIO pins : INT2_ADWB_Pin SD_DETECT_Pin */
  GPIO_InitStruct.Pin = INT2_ADWB_Pin|SD_DETECT_Pin;
  GPIO_InitStruct.Mode = GPIO_MODE_INPUT;
  GPIO_InitStruct.Pull = GPIO_NOPULL;
  HAL_GPIO_Init(GPIOB, &GPIO_InitStruct);

  /*Configure GPIO pin : CHRG_Pin */
  GPIO_InitStruct.Pin = CHRG_Pin;
  GPIO_InitStruct.Mode = GPIO_MODE_INPUT;
  GPIO_InitStruct.Pull = GPIO_NOPULL;
  HAL_GPIO_Init(CHRG_GPIO_Port, &GPIO_InitStruct);

  /*Configure GPIO pin : BUTTON_PWR_Pin */
  GPIO_InitStruct.Pin = BUTTON_PWR_Pin;
  GPIO_InitStruct.Mode = GPIO_MODE_IT_RISING;
  GPIO_InitStruct.Pull = GPIO_NOPULL;
  HAL_GPIO_Init(BUTTON_PWR_GPIO_Port, &GPIO_InitStruct);

  /*Configure GPIO pins : USART3_RX_Pin USART3_TX_Pin */
  GPIO_InitStruct.Pin = USART3_RX_Pin|USART3_TX_Pin;
  GPIO_InitStruct.Mode = GPIO_MODE_AF_PP;
  GPIO_InitStruct.Pull = GPIO_NOPULL;
  GPIO_InitStruct.Speed = GPIO_SPEED_FREQ_VERY_HIGH;
  GPIO_InitStruct.Alternate = GPIO_AF7_USART3;
  HAL_GPIO_Init(GPIOD, &GPIO_InitStruct);

  /*Configure GPIO pin : SPI2_MOSI_Pin */
  GPIO_InitStruct.Pin = SPI2_MOSI_Pin;
  GPIO_InitStruct.Mode = GPIO_MODE_AF_PP;
  GPIO_InitStruct.Pull = GPIO_NOPULL;
  GPIO_InitStruct.Speed = GPIO_SPEED_FREQ_VERY_HIGH;
  GPIO_InitStruct.Alternate = GPIO_AF5_SPI2;
  HAL_GPIO_Init(SPI2_MOSI_GPIO_Port, &GPIO_InitStruct);

  /*Configure GPIO pins : USART3_RTS_Pin USART3_CTS_Pin */
  GPIO_InitStruct.Pin = USART3_RTS_Pin|USART3_CTS_Pin;
  GPIO_InitStruct.Mode = GPIO_MODE_AF_PP;
  GPIO_InitStruct.Pull = GPIO_NOPULL;
  GPIO_InitStruct.Speed = GPIO_SPEED_FREQ_VERY_HIGH;
  GPIO_InitStruct.Alternate = GPIO_AF7_USART3;
  HAL_GPIO_Init(GPIOB, &GPIO_InitStruct);

  /*Configure GPIO pin : DFSDM1_CKOUT_Pin */
  GPIO_InitStruct.Pin = DFSDM1_CKOUT_Pin;
  GPIO_InitStruct.Mode = GPIO_MODE_AF_PP;
  GPIO_InitStruct.Pull = GPIO_PULLDOWN;
  GPIO_InitStruct.Speed = GPIO_SPEED_FREQ_VERY_HIGH;
  GPIO_InitStruct.Alternate = GPIO_AF6_DFSDM1;
  HAL_GPIO_Init(DFSDM1_CKOUT_GPIO_Port, &GPIO_InitStruct);

  /*Configure GPIO pins : SPI2_MOSI_p2_Pin PB11_Pin */
  GPIO_InitStruct.Pin = SPI2_MOSI_p2_Pin|PB11_Pin;
  GPIO_InitStruct.Mode = GPIO_MODE_OUTPUT_PP;
  GPIO_InitStruct.Pull = GPIO_NOPULL;
  GPIO_InitStruct.Speed = GPIO_SPEED_FREQ_LOW;
  HAL_GPIO_Init(GPIOB, &GPIO_InitStruct);

  /*Configure GPIO pin : INT2_DH_Pin */
  GPIO_InitStruct.Pin = INT2_DH_Pin;
  GPIO_InitStruct.Mode = GPIO_MODE_IT_RISING;
  GPIO_InitStruct.Pull = GPIO_NOPULL;
  HAL_GPIO_Init(INT2_DH_GPIO_Port, &GPIO_InitStruct);

  /*Configure GPIO pin : PE12_Pin */
  GPIO_InitStruct.Pin = PE12_Pin;
  GPIO_InitStruct.Mode = GPIO_MODE_ANALOG;
  GPIO_InitStruct.Pull = GPIO_NOPULL;
  HAL_GPIO_Init(PE12_GPIO_Port, &GPIO_InitStruct);

}

/* USER CODE BEGIN 4 */
/**
  * @brief  Redirecting stdout to USART2 which is connected on the STLINK port
  * @retval
  * @param
  */
int __io_putchar(int ch)
{
 uint8_t c[1];
 c[0] = ch & 0x00FF;
 HAL_UART_Transmit(&huart2, &*c, 1, 10);
 return ch;
}

/*
 * @brief  Wait a delay in µs
 * @param  us: delay in µs
 * @return No
 *
 */
static void NEAI_Delay_us (uint32_t us)
{
  /* Set the htim2 counter to 0 in order to restart counter */
  __HAL_TIM_SET_COUNTER(&htim2, 0);
  /* According to the RM0432, in theory:
   * With ADC_CLK = 120 MHz and a sampling time of 2.5 ADC clock cycles:
   * Tconv = 2.5 + 12.5 = 15 ADC clock cycles = 0.125 µs
   * In practice, we don't this delay take into account
   */
  while (__HAL_TIM_GET_COUNTER(&htim2) < us);
}

/*
 * @brief  Get the value of ADC 1 channel 2
 * @param  No
 * @return No
 *
 */
static void get_microphone_data()
{
  for (uint16_t i = 0; i < SAMPLES; i++) {
    /* Start the ADC */
    HAL_ADC_Start(&hadc1);
    /* Here we call PollForConversion function without delay */
    HAL_ADC_PollForConversion(&hadc1, 0);
    /* Get ADC data in neai_buffer */
    neai_buffer[i] = (float) HAL_ADC_GetValue(&hadc1);
    NEAI_Delay_us(odr_timer);
  }
}

/* USER CODE END 4 */

void Error_Handler(void)
{
  __disable_irq();
  while (1)
  {
  }
}
